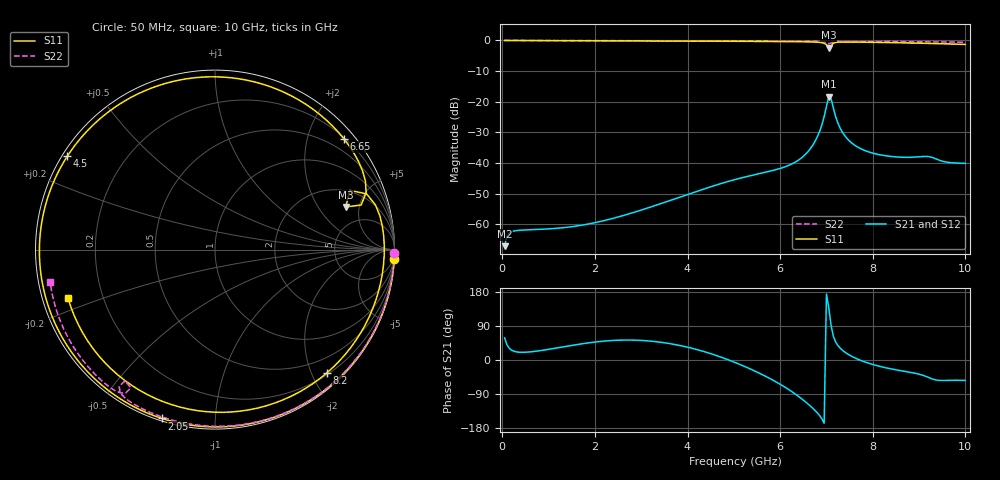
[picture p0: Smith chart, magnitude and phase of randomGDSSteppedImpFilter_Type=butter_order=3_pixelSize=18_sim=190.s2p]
! freq	dB(S11)	phase(S11)	dB(S12)	phase(S12)
!  dB(S21)	phase(S21)	dB(S22)	phase(S22)
!S-par simulation data
#  GHz  S  DB  R 50
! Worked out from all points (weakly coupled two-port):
!   200 points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, 50 MHz to 10 GHz, reference 50 ohm
!   highest |S21| = -18.32 dB at 7.05 GHz (marker M1); lowest = -67.2 dB at 50 MHz (marker M2)
!   lowest |S11| = -2.3 dB at 7.05 GHz (marker M3), VSWR 7.55, Z = 159 + j182 ohm
!   |S11| at or under -10 dB: nowhere
!   |S22| runs from -1.0 to 0.0 dB; largest |S21 - S12| = 0
!   S11 on the Smith chart (normalised r, x): 50 MHz: 0, -40; 2.05 GHz: 0.01, -0.73; 4.5 GHz: 0.01, +0.29; 6.65 GHz: 0.22, +2.68; 8.2 GHz: 0.23, -2.24; 10 GHz: 0.08, -0.16
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0.05  -0.00 -2.8  -67.19 58.5  -67.19 58.5  -0.00 -1.0
0.1  -0.00 -5.7  -63.90 40.2  -63.90 40.2  -0.00 -2.0
0.2  -0.00 -11.4  -62.45 25.9  -62.45 25.9  -0.00 -3.9
0.95  -0.06 -52.8  -61.59 27.2  -61.59 27.2  -0.02 -18.5
1.75  -0.11 -93.4  -60.26 43.3  -60.26 43.3  -0.04 -33.7
2.05  -0.12 -107.5  -59.36 48.1  -59.36 48.1  -0.05 -39.3
2.75  -0.15 -138.6  -56.57 52.7  -56.57 52.7  -0.07 -52.1
3.4  -0.17 -166.0  -53.42 47.1  -53.42 47.1  -0.08 -63.7
4.5  -0.23 147.7  -47.79 16.8  -47.79 16.8  -0.12 -82.6
5.05  -0.27 123.2  -45.33 -7.6  -45.33 -7.6  -0.14 -91.7
5.9  -0.35 81.9  -42.24 -56.9  -42.24 -56.9  -0.18 -105.4
6.65  -0.47 40.7  -35.39 -121.2  -35.39 -121.2  -0.24 -117.6
6.7  -0.49 37.6  -34.31 -126.8  -34.31 -126.8  -0.25 -118.5
6.9  -0.71 24.5  -27.63 -155.0  -27.63 -155.0  -0.34 -122.5
7.05  -2.31 18.1  -18.32 137.9  -18.32 137.9  -1.04 -124.4
7.15  -0.92 20.2  -22.18 62.4  -22.18 62.4  -0.54 -121.9
7.3  -0.52 8.0  -28.78 30.8  -28.78 30.8  -0.32 -125.5
7.45  -0.51 -2.0  -32.12 16.4  -32.12 16.4  -0.30 -128.3
8.2  -0.65 -47.7  -37.47 -18.3  -37.47 -18.3  -0.35 -140.3
8.35  -0.69 -56.8  -37.81 -22.3  -37.81 -22.3  -0.37 -142.6
9.15  -0.94 -105.6  -37.87 -43.3  -37.87 -43.3  -0.45 -155.1
10  -1.29 -161.7  -40.14 -53.8  -40.14 -53.8  -0.58 -169.0
